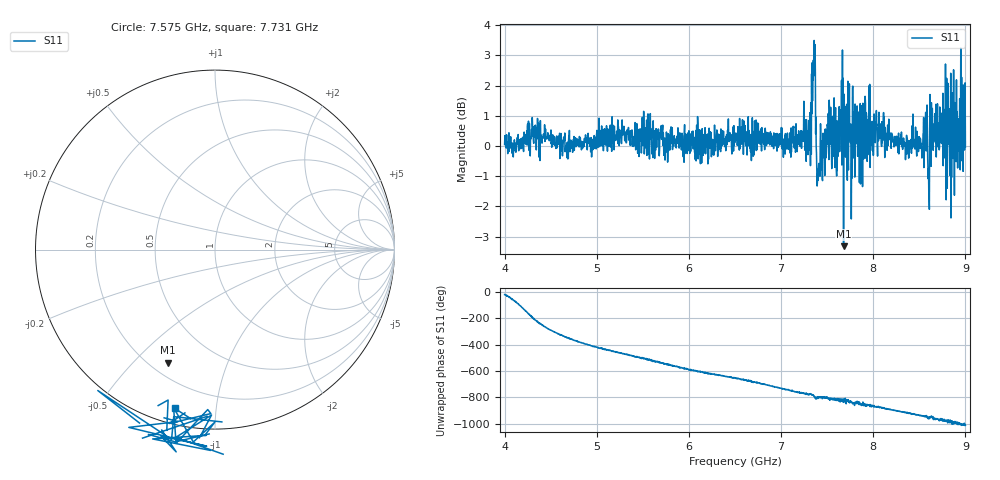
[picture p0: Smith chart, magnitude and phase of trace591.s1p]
! Created with skrf 1.8.0 (http://scikit-rf.org).
# Hz S RI R 50.0
!freq ReS11 ImS11
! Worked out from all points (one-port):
!   1601 points, 4 GHz to 9 GHz, reference 50 ohm
!   lowest |S11| = -3.3 dB at 7.678 GHz (marker M1), VSWR 5.31, Z = 13.4 - j31.7 ohm
!   |S11| at or under -10 dB: nowhere
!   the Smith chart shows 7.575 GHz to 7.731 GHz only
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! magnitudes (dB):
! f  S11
! 4 GHz  0.0
! 4.316 GHz  0.1
! 4.625 GHz  -0.3
! 5.25 GHz  0.5
! 5.875 GHz  0.2
! 6.5 GHz  0.3
! 7.125 GHz  0.5
! 7.294 GHz  -0.1
! 7.347 GHz  2.2
! 7.397 GHz  -0.9
! 7.409 GHz  -0.6
! 7.519 GHz  -0.4
! 7.594 GHz  -0.7
! 7.65 GHz  1.2
! 7.678 GHz  -3.3
! 7.703 GHz  0.7
! 7.75 GHz  0.5
! 7.775 GHz  1.9
! 7.822 GHz  0.1
! 7.875 GHz  0.5
! 7.928 GHz  0.9
! 8.375 GHz  -0.1
! 8.562 GHz  0.3
! 8.612 GHz  0.4
! 8.656 GHz  0.7
! 8.869 GHz  -0.4
! 8.953 GHz  -0.5
! 9 GHz  0.0
